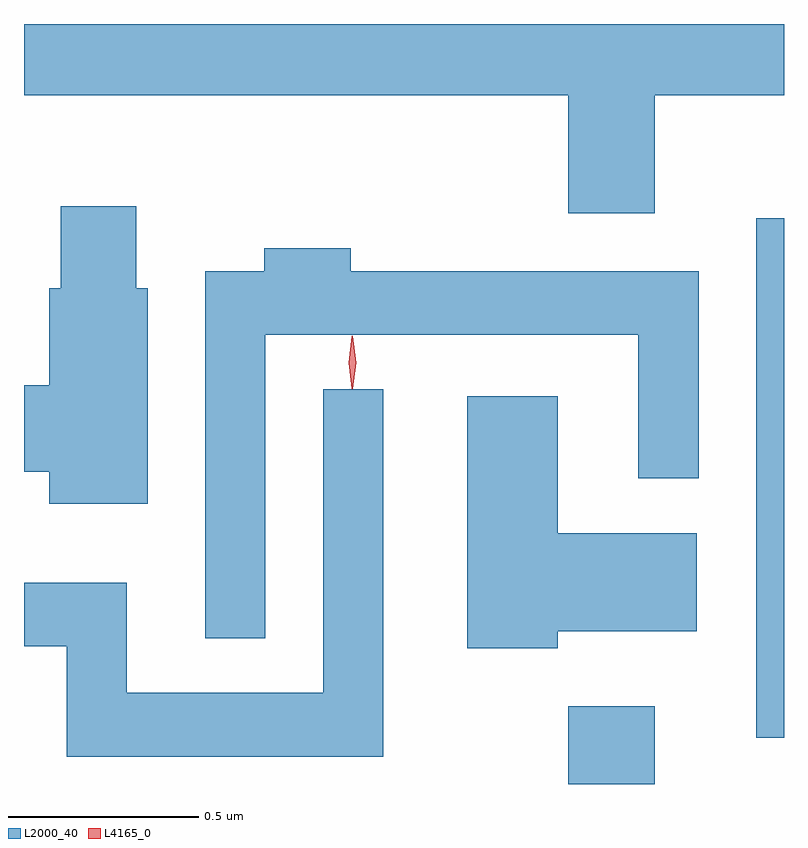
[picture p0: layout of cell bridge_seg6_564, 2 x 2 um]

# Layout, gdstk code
import gdstk
lib = gdstk.Library(unit=1e-6, precision=1e-09)
def R(c, l, rs):  # rectangles x0, y0, x1, y1
    for r in rs: c.add(gdstk.rectangle(r[:2], r[2:], *l))
def P(c, l, *ps):  # polygons
    for p in ps: c.add(gdstk.Polygon(p, *l))
L2000_40 = (2000, 40)
L4165_0 = (4165, 0)

bridge_seg6_564 = lib.new_cell('bridge_seg6_564')
R(bridge_seg6_564, L2000_40, [(447.511,1643.684,447.739,1643.889), (448.006,1643.806,448.079,1645.173)])
P(bridge_seg6_564, L2000_40, [(447.739,1645.496),(448.079,1645.496),(448.079,1645.684),(446.079,1645.684),(446.079,1645.496),(447.511,1645.496),(447.511,1645.186),(447.739,1645.186)],
  [(446.404,1644.989),(446.374,1644.989),(446.374,1645.204),(446.176,1645.204),(446.176,1644.989),(446.146,1644.989),(446.146,1644.734),(446.079,1644.734),(446.079,1644.506),(446.146,1644.506),(446.146,1644.421),(446.404,1644.421)],
  [(446.714,1644.866),(447.696,1644.866),(447.696,1644.488),(447.854,1644.488),(447.854,1645.034),(446.939,1645.034),(446.939,1645.094),(446.711,1645.094),(446.711,1645.034),(446.556,1645.034),(446.556,1644.068),(446.714,1644.068)],
  [(447.024,1644.723),(446.866,1644.723),(446.866,1643.924),(446.349,1643.924),(446.349,1644.214),(446.079,1644.214),(446.079,1644.046),(446.191,1644.046),(446.191,1643.756),(447.024,1643.756)],
  [(447.484,1644.086),(447.849,1644.086),(447.849,1644.344),(447.484,1644.344),(447.484,1644.704),(447.246,1644.704),(447.246,1644.041),(447.484,1644.041)])
P(bridge_seg6_564, L4165_0, [(446.943,1644.723),(446.942,1644.724),(446.933,1644.793),(446.942,1644.862),(446.943,1644.863),(446.944,1644.862),(446.953,1644.793),(446.944,1644.724)])

lib.write_gds('bridge_seg6_564.gds')
